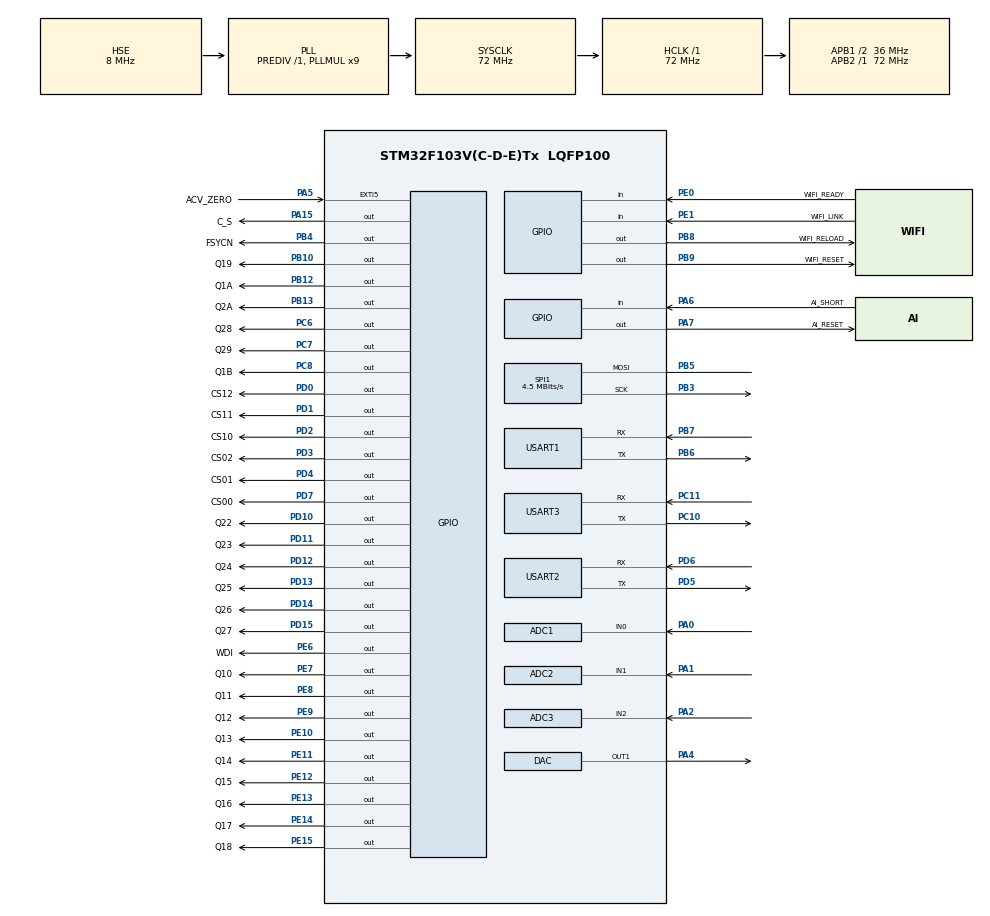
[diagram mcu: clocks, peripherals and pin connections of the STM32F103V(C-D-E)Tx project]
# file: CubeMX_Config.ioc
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ADC1.Channel-0\#ChannelRegularConversion=ADC_CHANNEL_0
ADC1.ContinuousConvMode=DISABLE
ADC1.ExternalTrigConv=ADC_EXTERNALTRIGCONV_T8_TRGO
ADC1.Mode=__NULL
ADC1.NbrOfConversion=1
ADC1.NbrOfConversionFlag=1
ADC1.Rank-0\#ChannelRegularConversion=1
ADC1.SamplingTime-0\#ChannelRegularConversion=ADC_SAMPLETIME_7CYCLES_5
ADC1.master=1
ADC2.Channel-2\#ChannelRegularConversion=ADC_CHANNEL_1
ADC2.ExternalTrigConv=ADC_EXTERNALTRIGCONV_T8_TRGO
ADC2.NbrOfConversionFlag=1
ADC2.Rank-2\#ChannelRegularConversion=1
ADC2.SamplingTime-2\#ChannelRegularConversion=ADC_SAMPLETIME_7CYCLES_5
ADC3.Channel-0\#ChannelRegularConversion=ADC_CHANNEL_2
ADC3.ExternalTrigConv=ADC_EXTERNALTRIGCONV_T8_TRGO
ADC3.NbrOfConversionFlag=1
ADC3.Rank-0\#ChannelRegularConversion=1
ADC3.SamplingTime-0\#ChannelRegularConversion=ADC_SAMPLETIME_7CYCLES_5
DAC.DAC_Trigger=DAC_TRIGGER_NONE
Dma.ADC1.4.Direction=DMA_PERIPH_TO_MEMORY
Dma.ADC1.4.Instance=DMA1_Channel1
Dma.ADC1.4.MemDataAlignment=DMA_MDATAALIGN_WORD
Dma.ADC1.4.MemInc=DMA_MINC_ENABLE
Dma.ADC1.4.Mode=DMA_NORMAL
Dma.ADC1.4.PeriphDataAlignment=DMA_PDATAALIGN_WORD
Dma.ADC1.4.PeriphInc=DMA_PINC_DISABLE
Dma.ADC1.4.Priority=DMA_PRIORITY_HIGH
Dma.ADC3.5.Direction=DMA_PERIPH_TO_MEMORY
Dma.ADC3.5.Instance=DMA2_Channel5
Dma.ADC3.5.MemDataAlignment=DMA_MDATAALIGN_WORD
Dma.ADC3.5.MemInc=DMA_MINC_ENABLE
Dma.ADC3.5.Mode=DMA_NORMAL
Dma.ADC3.5.PeriphDataAlignment=DMA_PDATAALIGN_WORD
Dma.ADC3.5.PeriphInc=DMA_PINC_DISABLE
Dma.ADC3.5.Priority=DMA_PRIORITY_HIGH
Dma.Request0=USART1_RX
Dma.Request1=USART1_TX
Dma.Request2=USART2_RX
Dma.Request3=USART2_TX
Dma.Request4=ADC1
Dma.Request5=ADC3
Dma.USART1_RX.0.Direction=DMA_PERIPH_TO_MEMORY
Dma.USART1_RX.0.Instance=DMA1_Channel5
Dma.USART1_RX.0.MemDataAlignment=DMA_MDATAALIGN_BYTE
Dma.USART1_RX.0.MemInc=DMA_MINC_ENABLE
Dma.USART1_RX.0.Mode=DMA_NORMAL
Dma.USART1_RX.0.PeriphDataAlignment=DMA_PDATAALIGN_BYTE
Dma.USART1_RX.0.PeriphInc=DMA_PINC_DISABLE
Dma.USART1_RX.0.Priority=DMA_PRIORITY_LOW
Dma.USART1_TX.1.Direction=DMA_MEMORY_TO_PERIPH
Dma.USART1_TX.1.Instance=DMA1_Channel4
Dma.USART1_TX.1.MemDataAlignment=DMA_MDATAALIGN_BYTE
Dma.USART1_TX.1.MemInc=DMA_MINC_ENABLE
Dma.USART1_TX.1.Mode=DMA_NORMAL
Dma.USART1_TX.1.PeriphDataAlignment=DMA_PDATAALIGN_BYTE
Dma.USART1_TX.1.PeriphInc=DMA_PINC_DISABLE
Dma.USART1_TX.1.Priority=DMA_PRIORITY_LOW
Dma.USART2_RX.2.Direction=DMA_PERIPH_TO_MEMORY
Dma.USART2_RX.2.Instance=DMA1_Channel6
Dma.USART2_RX.2.MemDataAlignment=DMA_MDATAALIGN_BYTE
Dma.USART2_RX.2.MemInc=DMA_MINC_ENABLE
Dma.USART2_RX.2.Mode=DMA_NORMAL
Dma.USART2_RX.2.PeriphDataAlignment=DMA_PDATAALIGN_BYTE
Dma.USART2_RX.2.PeriphInc=DMA_PINC_DISABLE
Dma.USART2_RX.2.Priority=DMA_PRIORITY_LOW
Dma.USART2_TX.3.Direction=DMA_MEMORY_TO_PERIPH
Dma.USART2_TX.3.Instance=DMA1_Channel7
Dma.USART2_TX.3.MemDataAlignment=DMA_MDATAALIGN_BYTE
Dma.USART2_TX.3.MemInc=DMA_MINC_ENABLE
Dma.USART2_TX.3.Mode=DMA_NORMAL
Dma.USART2_TX.3.PeriphDataAlignment=DMA_PDATAALIGN_BYTE
Dma.USART2_TX.3.PeriphInc=DMA_PINC_DISABLE
Dma.USART2_TX.3.Priority=DMA_PRIORITY_LOW
Mcu.Family=STM32F1
Mcu.Name=STM32F103V(C-D-E)Tx
Mcu.Package=LQFP100
NVIC.DMA1_Channel1_IRQn=true\:0\:0\:false\:false\:true\:false\:true\:true
NVIC.DMA1_Channel4_IRQn=true\:0\:0\:false\:false\:true\:false\:true\:true
NVIC.DMA1_Channel5_IRQn=true\:0\:0\:false\:false\:true\:false\:true\:true
NVIC.DMA1_Channel6_IRQn=true\:0\:0\:false\:false\:true\:false\:true\:true
NVIC.DMA1_Channel7_IRQn=true\:0\:0\:false\:false\:true\:false\:true\:true
NVIC.DMA2_Channel4_5_IRQn=true\:0\:0\:false\:false\:true\:false\:true\:true
NVIC.PriorityGroup=NVIC_PRIORITYGROUP_4
NVIC.USART1_IRQn=true\:0\:0\:false\:false\:true\:true\:true\:true
NVIC.USART2_IRQn=true\:0\:0\:false\:false\:true\:true\:true\:true
NVIC.USART3_IRQn=true\:0\:0\:false\:false\:true\:true\:true\:true
OSC_IN.Mode=HSE-External-Oscillator
OSC_IN.Signal=RCC_OSC_IN
OSC_OUT.Mode=HSE-External-Oscillator
OSC_OUT.Signal=RCC_OSC_OUT
PA0-WKUP.Signal=ADCx_IN0
PA1.Signal=ADCx_IN1
PA13.Mode=Serial_Wire
PA13.Signal=SYS_JTMS-SWDIO
PA14.Mode=Serial_Wire
PA14.Signal=SYS_JTCK-SWCLK
PA15.GPIO_Label=C_S
PA15.GPIO_PuPd=GPIO_PULLUP
PA15.GPIO_Speed=GPIO_SPEED_FREQ_HIGH
PA15.PinState=GPIO_PIN_SET
PA15.Signal=GPIO_Output
PA2.Signal=ADCx_IN2
PA4.Signal=COMP_DAC1_group
PA5.GPIO_Label=ACV_ZERO
PA5.Signal=GPXTI5
PA6.GPIO_Label=AI_SHORT
PA6.Signal=GPIO_Input
PA7.GPIO_Label=AI_RESET
PA7.GPIO_PuPd=GPIO_NOPULL
PA7.PinState=GPIO_PIN_SET
PA7.Signal=GPIO_Output
PB10.GPIO_Label=Q19
PB10.Signal=GPIO_Output
PB12.GPIO_Label=Q1A
PB12.Signal=GPIO_Output
PB13.GPIO_Label=Q2A
PB13.Signal=GPIO_Output
PB3.Mode=Simplex_Bidirectional_Master
PB3.Signal=SPI1_SCK
PB4.GPIO_Label=FSYCN
PB4.GPIO_PuPd=GPIO_PULLUP
PB4.GPIO_Speed=GPIO_SPEED_FREQ_HIGH
PB4.PinState=GPIO_PIN_SET
PB4.Signal=GPIO_Output
PB5.Mode=Simplex_Bidirectional_Master
PB5.Signal=SPI1_MOSI
PB6.Mode=Asynchronous
PB6.Signal=USART1_TX
PB7.Mode=Asynchronous
PB7.Signal=USART1_RX
PB8.GPIO_Label=WIFI_RELOAD
PB8.PinState=GPIO_PIN_SET
PB8.Signal=GPIO_Output
PB9.GPIO_Label=WIFI_RESET
PB9.PinState=GPIO_PIN_SET
PB9.Signal=GPIO_Output
PC10.Mode=Asynchronous
PC10.Signal=USART3_TX
PC11.Mode=Asynchronous
PC11.Signal=USART3_RX
PC14-OSC32_IN.Mode=LSE-External-Oscillator
PC14-OSC32_IN.Signal=RCC_OSC32_IN
PC15-OSC32_OUT.Mode=LSE-External-Oscillator
PC15-OSC32_OUT.Signal=RCC_OSC32_OUT
PC6.GPIO_Label=Q28
PC6.Signal=GPIO_Output
PC7.GPIO_Label=Q29
PC7.Signal=GPIO_Output
PC8.GPIO_Label=Q1B
PC8.Signal=GPIO_Output
PD0.GPIO_Label=CS12
PD0.GPIO_Speed=GPIO_SPEED_FREQ_HIGH
PD0.PinState=GPIO_PIN_RESET
PD0.Signal=GPIO_Output
PD1.GPIO_Label=CS11
PD1.GPIO_Speed=GPIO_SPEED_FREQ_HIGH
PD1.PinState=GPIO_PIN_RESET
PD1.Signal=GPIO_Output
PD10.GPIO_Label=Q22
PD10.Signal=GPIO_Output
PD11.GPIO_Label=Q23
PD11.Signal=GPIO_Output
PD12.GPIO_Label=Q24
PD12.Signal=GPIO_Output
PD13.GPIO_Label=Q25
PD13.Signal=GPIO_Output
PD14.GPIO_Label=Q26
PD14.Signal=GPIO_Output
PD15.GPIO_Label=Q27
PD15.Signal=GPIO_Output
PD2.GPIO_Label=CS10
PD2.GPIO_Speed=GPIO_SPEED_FREQ_HIGH
PD2.PinState=GPIO_PIN_RESET
PD2.Signal=GPIO_Output
PD3.GPIO_Label=CS02
PD3.GPIO_Speed=GPIO_SPEED_FREQ_HIGH
PD3.PinState=GPIO_PIN_RESET
PD3.Signal=GPIO_Output
PD4.GPIO_Label=CS01
PD4.GPIO_Speed=GPIO_SPEED_FREQ_HIGH
PD4.PinState=GPIO_PIN_RESET
PD4.Signal=GPIO_Output
PD5.Mode=Asynchronous
PD5.Signal=USART2_TX
PD6.Mode=Asynchronous
PD6.Signal=USART2_RX
PD7.GPIO_Label=CS00
PD7.GPIO_Speed=GPIO_SPEED_FREQ_HIGH
PD7.PinState=GPIO_PIN_RESET
PD7.Signal=GPIO_Output
PE0.GPIO_Label=WIFI_READY
PE0.Signal=GPIO_Input
PE1.GPIO_Label=WIFI_LINK
PE1.Signal=GPIO_Input
PE10.GPIO_Label=Q13
PE10.Signal=GPIO_Output
PE11.GPIO_Label=Q14
PE11.Signal=GPIO_Output
PE12.GPIO_Label=Q15
PE12.Signal=GPIO_Output
PE13.GPIO_Label=Q16
PE13.Signal=GPIO_Output
PE14.GPIO_Label=Q17
PE14.Signal=GPIO_Output
PE15.GPIO_Label=Q18
PE15.Signal=GPIO_Output
PE6.GPIO_Label=WDI
PE6.Signal=GPIO_Output
PE7.GPIO_Label=Q10
PE7.Signal=GPIO_Output
PE8.GPIO_Label=Q11
PE8.Signal=GPIO_Output
PE9.GPIO_Label=Q12
PE9.Signal=GPIO_Output
ProjectManager.HeapSize=0x000
ProjectManager.StackSize=0x800
ProjectManager.TargetToolchain=MDK-ARM V5.27
RCC.ADCPresc=RCC_ADCPCLK2_DIV6
RCC.AHBFreq_Value=72000000
RCC.APB1CLKDivider=RCC_HCLK_DIV2
RCC.APB1Freq_Value=36000000
RCC.APB1TimFreq_Value=72000000
RCC.APB2Freq_Value=72000000
RCC.APB2TimFreq_Value=72000000
RCC.HCLKFreq_Value=72000000
RCC.PLLMUL=RCC_PLL_MUL9
RCC.PLLSourceVirtual=RCC_PLLSOURCE_HSE
RCC.SYSCLKFreq_VALUE=72000000
RCC.SYSCLKSource=RCC_SYSCLKSOURCE_PLLCLK
RCC.USBFreq_Value=72000000
SH.ADCx_IN0.0=ADC1_IN0,IN0
SH.ADCx_IN1.0=ADC2_IN1,IN1
SH.ADCx_IN2.0=ADC3_IN2,IN2
SH.COMP_DAC1_group.0=DAC_OUT1,DAC_OUT1
SPI1.BaudRatePrescaler=SPI_BAUDRATEPRESCALER_16
SPI1.CLKPolarity=SPI_POLARITY_HIGH
SPI1.CRCCalculation=SPI_CRCCALCULATION_DISABLE
SPI1.CalculateBaudRate=4.5 MBits/s
SPI1.DataSize=SPI_DATASIZE_16BIT
SPI1.Direction=SPI_DIRECTION_1LINE
SPI1.Mode=SPI_MODE_MASTER
SPI1.VirtualType=VM_MASTER
TIM8.AutoReloadPreload=TIM_AUTORELOAD_PRELOAD_ENABLE
TIM8.Period=720-1
TIM8.Prescaler=0
TIM8.TIM_MasterOutputTrigger=TIM_TRGO_UPDATE
USART1.VirtualMode=VM_ASYNC
USART2.VirtualMode=VM_ASYNC
USART3.VirtualMode=VM_ASYNC
VP_TIM8_VS_ClockSourceINT.Mode=Internal
board=custom

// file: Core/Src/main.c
/* USER CODE BEGIN Header */
/**
 ******************************************************************************
 * @file           : main.c
 * @brief          : Main program body
 ******************************************************************************
 * @attention
 *
 * Copyright (c) 2022 STMicroelectronics.
 * All rights reserved.
 *
 * This software is licensed under terms that can be found in the LICENSE file
 * in the root directory of this software component.
 * If no LICENSE file comes with this software, it is provided AS-IS.
 *
 ******************************************************************************
 */
/* USER CODE END Header */
#include "main.h"

/* USER CODE BEGIN Includes */
#include <rtthread.h>
/* USER CODE END Includes */

 ADC_HandleTypeDef hadc1;
ADC_HandleTypeDef hadc2;
ADC_HandleTypeDef hadc3;
DMA_HandleTypeDef hdma_adc1;
DMA_HandleTypeDef hdma_adc3;

DAC_HandleTypeDef hdac;

SPI_HandleTypeDef hspi1;

TIM_HandleTypeDef htim8;

UART_HandleTypeDef huart1;
UART_HandleTypeDef huart2;
UART_HandleTypeDef huart3;
DMA_HandleTypeDef hdma_usart1_rx;
DMA_HandleTypeDef hdma_usart1_tx;
DMA_HandleTypeDef hdma_usart2_rx;
DMA_HandleTypeDef hdma_usart2_tx;

void SystemClock_Config(void);
static void MX_GPIO_Init(void);
static void MX_DMA_Init(void);
static void MX_USART1_UART_Init(void);
static void MX_USART2_UART_Init(void);
static void MX_USART3_UART_Init(void);
static void MX_ADC1_Init(void);
static void MX_SPI1_Init(void);
static void MX_ADC2_Init(void);
static void MX_ADC3_Init(void);
static void MX_TIM8_Init(void);
static void MX_DAC_Init(void);

/* USER CODE BEGIN 0 */
static int rt_stm32_hal_init(void)
{
  HAL_Init();
  MX_GPIO_Init();
  MX_DMA_Init();
  MX_USART1_UART_Init();
  MX_USART2_UART_Init();
  MX_USART3_UART_Init();
  MX_TIM8_Init();
  MX_ADC1_Init();
  MX_ADC2_Init();
  MX_ADC3_Init();
  MX_DAC_Init();
  MX_SPI1_Init();

  HAL_ADCEx_Calibration_Start(&hadc1);
  HAL_ADCEx_Calibration_Start(&hadc2);
  HAL_ADCEx_Calibration_Start(&hadc3);
  HAL_DAC_SetValue(&hdac, DAC_CHANNEL_1, DAC_ALIGN_12B_R, 2048 - 1); // 输出基准电压1.65v
  HAL_DAC_Start(&hdac, DAC_CHANNEL_1);
  /*启动时复位一下wifi*/
  // HAL_GPIO_WritePin(WIFI_RESET_GPIO_Port, WIFI_RESET_Pin, GPIO_PIN_RESET);
  // HAL_Delay(100);
  // HAL_GPIO_WritePin(WIFI_RESET_GPIO_Port, WIFI_RESET_Pin, GPIO_PIN_SET);
  return 0;
}
/*在内核对象中初始�????????????:https://blog.csdn.net/yang1111111112/article/details/93982354*/
// INIT_COMPONENT_EXPORT(rt_stm32_hal_init);
// INIT_ENV_EXPORT(rt_stm32_hal_init);
INIT_DEVICE_EXPORT(rt_stm32_hal_init);
/* USER CODE END 0 */

void SystemClock_Config(void)
{
  RCC_OscInitTypeDef RCC_OscInitStruct = {0};
  RCC_ClkInitTypeDef RCC_ClkInitStruct = {0};
  RCC_PeriphCLKInitTypeDef PeriphClkInit = {0};

  /** Initializes the RCC Oscillators according to the specified parameters
  * in the RCC_OscInitTypeDef structure.
  */
  RCC_OscInitStruct.OscillatorType = RCC_OSCILLATORTYPE_HSE;
  RCC_OscInitStruct.HSEState = RCC_HSE_ON;
  RCC_OscInitStruct.HSEPredivValue = RCC_HSE_PREDIV_DIV1;
  RCC_OscInitStruct.HSIState = RCC_HSI_ON;
  RCC_OscInitStruct.PLL.PLLState = RCC_PLL_ON;
  RCC_OscInitStruct.PLL.PLLSource = RCC_PLLSOURCE_HSE;
  RCC_OscInitStruct.PLL.PLLMUL = RCC_PLL_MUL9;
  if (HAL_RCC_OscConfig(&RCC_OscInitStruct) != HAL_OK)
  {
    Error_Handler();
  }

  /** Initializes the CPU, AHB and APB buses clocks
  */
  RCC_ClkInitStruct.ClockType = RCC_CLOCKTYPE_HCLK|RCC_CLOCKTYPE_SYSCLK
                              |RCC_CLOCKTYPE_PCLK1|RCC_CLOCKTYPE_PCLK2;
  RCC_ClkInitStruct.SYSCLKSource = RCC_SYSCLKSOURCE_PLLCLK;
  RCC_ClkInitStruct.AHBCLKDivider = RCC_SYSCLK_DIV1;
  RCC_ClkInitStruct.APB1CLKDivider = RCC_HCLK_DIV2;
  RCC_ClkInitStruct.APB2CLKDivider = RCC_HCLK_DIV1;

  if (HAL_RCC_ClockConfig(&RCC_ClkInitStruct, FLASH_LATENCY_2) != HAL_OK)
  {
    Error_Handler();
  }
  PeriphClkInit.PeriphClockSelection = RCC_PERIPHCLK_ADC;
  PeriphClkInit.AdcClockSelection = RCC_ADCPCLK2_DIV6;
  if (HAL_RCCEx_PeriphCLKConfig(&PeriphClkInit) != HAL_OK)
  {
    Error_Handler();
  }
}

static void MX_ADC1_Init(void)
{

  ADC_ChannelConfTypeDef sConfig = {0};

  /** Common config
  */
  hadc1.Instance = ADC1;
  hadc1.Init.ScanConvMode = ADC_SCAN_DISABLE;
  hadc1.Init.ContinuousConvMode = DISABLE;
  hadc1.Init.DiscontinuousConvMode = DISABLE;
  hadc1.Init.ExternalTrigConv = ADC_EXTERNALTRIGCONV_T8_TRGO;
  hadc1.Init.DataAlign = ADC_DATAALIGN_RIGHT;
  hadc1.Init.NbrOfConversion = 1;
  if (HAL_ADC_Init(&hadc1) != HAL_OK)
  {
    Error_Handler();
  }

  /** Enable or disable the remapping of ADC1_ETRGREG:
  * ADC1 External Event regular conversion is connected to TIM8 TRG0
  */
  __HAL_AFIO_REMAP_ADC1_ETRGREG_ENABLE();

  /** Configure Regular Channel
  */
  sConfig.Channel = ADC_CHANNEL_0;
  sConfig.Rank = ADC_REGULAR_RANK_1;
  sConfig.SamplingTime = ADC_SAMPLETIME_7CYCLES_5;
  if (HAL_ADC_ConfigChannel(&hadc1, &sConfig) != HAL_OK)
  {
    Error_Handler();
  }

}

static void MX_ADC2_Init(void)
{

  ADC_ChannelConfTypeDef sConfig = {0};

  /** Common config
  */
  hadc2.Instance = ADC2;
  hadc2.Init.ScanConvMode = ADC_SCAN_DISABLE;
  hadc2.Init.ContinuousConvMode = DISABLE;
  hadc2.Init.DiscontinuousConvMode = DISABLE;
  hadc2.Init.ExternalTrigConv = ADC_EXTERNALTRIGCONV_T8_TRGO;
  hadc2.Init.DataAlign = ADC_DATAALIGN_RIGHT;
  hadc2.Init.NbrOfConversion = 1;
  if (HAL_ADC_Init(&hadc2) != HAL_OK)
  {
    Error_Handler();
  }

  /** Enable the remapping of ADC1_ETRGREG:
  * ADC2 External Event regular conversion is connected to TIM8 TRG0.
  */
  __HAL_AFIO_REMAP_ADC2_ETRGREG_ENABLE();

  /** Configure Regular Channel
  */
  sConfig.Channel = ADC_CHANNEL_1;
  sConfig.Rank = ADC_REGULAR_RANK_1;
  sConfig.SamplingTime = ADC_SAMPLETIME_7CYCLES_5;
  if (HAL_ADC_ConfigChannel(&hadc2, &sConfig) != HAL_OK)
  {
    Error_Handler();
  }

}

static void MX_ADC3_Init(void)
{

  ADC_ChannelConfTypeDef sConfig = {0};

  /** Common config
  */
  hadc3.Instance = ADC3;
  hadc3.Init.ScanConvMode = ADC_SCAN_DISABLE;
  hadc3.Init.ContinuousConvMode = DISABLE;
  hadc3.Init.DiscontinuousConvMode = DISABLE;
  hadc3.Init.ExternalTrigConv = ADC_EXTERNALTRIGCONV_T8_TRGO;
  hadc3.Init.DataAlign = ADC_DATAALIGN_RIGHT;
  hadc3.Init.NbrOfConversion = 1;
  if (HAL_ADC_Init(&hadc3) != HAL_OK)
  {
    Error_Handler();
  }

  /** Configure Regular Channel
  */
  sConfig.Channel = ADC_CHANNEL_2;
  sConfig.Rank = ADC_REGULAR_RANK_1;
  sConfig.SamplingTime = ADC_SAMPLETIME_7CYCLES_5;
  if (HAL_ADC_ConfigChannel(&hadc3, &sConfig) != HAL_OK)
  {
    Error_Handler();
  }

}

static void MX_DAC_Init(void)
{

  DAC_ChannelConfTypeDef sConfig = {0};

  /** DAC Initialization
  */
  hdac.Instance = DAC;
  if (HAL_DAC_Init(&hdac) != HAL_OK)
  {
    Error_Handler();
  }

  /** DAC channel OUT1 config
  */
  sConfig.DAC_Trigger = DAC_TRIGGER_NONE;
  sConfig.DAC_OutputBuffer = DAC_OUTPUTBUFFER_ENABLE;
  if (HAL_DAC_ConfigChannel(&hdac, &sConfig, DAC_CHANNEL_1) != HAL_OK)
  {
    Error_Handler();
  }

}

static void MX_SPI1_Init(void)
{

  /* SPI1 parameter configuration*/
  hspi1.Instance = SPI1;
  hspi1.Init.Mode = SPI_MODE_MASTER;
  hspi1.Init.Direction = SPI_DIRECTION_1LINE;
  hspi1.Init.DataSize = SPI_DATASIZE_16BIT;
  hspi1.Init.CLKPolarity = SPI_POLARITY_HIGH;
  hspi1.Init.CLKPhase = SPI_PHASE_1EDGE;
  hspi1.Init.NSS = SPI_NSS_SOFT;
  hspi1.Init.BaudRatePrescaler = SPI_BAUDRATEPRESCALER_16;
  hspi1.Init.FirstBit = SPI_FIRSTBIT_MSB;
  hspi1.Init.TIMode = SPI_TIMODE_DISABLE;
  hspi1.Init.CRCCalculation = SPI_CRCCALCULATION_DISABLE;
  hspi1.Init.CRCPolynomial = 10;
  if (HAL_SPI_Init(&hspi1) != HAL_OK)
  {
    Error_Handler();
  }

}

static void MX_TIM8_Init(void)
{

  TIM_ClockConfigTypeDef sClockSourceConfig = {0};
  TIM_MasterConfigTypeDef sMasterConfig = {0};

  htim8.Instance = TIM8;
  htim8.Init.Prescaler = 0;
  htim8.Init.CounterMode = TIM_COUNTERMODE_UP;
  htim8.Init.Period = 720-1;
  htim8.Init.ClockDivision = TIM_CLOCKDIVISION_DIV1;
  htim8.Init.RepetitionCounter = 0;
  htim8.Init.AutoReloadPreload = TIM_AUTORELOAD_PRELOAD_ENABLE;
  if (HAL_TIM_Base_Init(&htim8) != HAL_OK)
  {
    Error_Handler();
  }
  sClockSourceConfig.ClockSource = TIM_CLOCKSOURCE_INTERNAL;
  if (HAL_TIM_ConfigClockSource(&htim8, &sClockSourceConfig) != HAL_OK)
  {
    Error_Handler();
  }
  sMasterConfig.MasterOutputTrigger = TIM_TRGO_UPDATE;
  sMasterConfig.MasterSlaveMode = TIM_MASTERSLAVEMODE_DISABLE;
  if (HAL_TIMEx_MasterConfigSynchronization(&htim8, &sMasterConfig) != HAL_OK)
  {
    Error_Handler();
  }

}

static void MX_USART1_UART_Init(void)
{

  huart1.Instance = USART1;
  huart1.Init.BaudRate = 115200;
  huart1.Init.WordLength = UART_WORDLENGTH_8B;
  huart1.Init.StopBits = UART_STOPBITS_1;
  huart1.Init.Parity = UART_PARITY_NONE;
  huart1.Init.Mode = UART_MODE_TX_RX;
  huart1.Init.HwFlowCtl = UART_HWCONTROL_NONE;
  huart1.Init.OverSampling = UART_OVERSAMPLING_16;
  if (HAL_UART_Init(&huart1) != HAL_OK)
  {
    Error_Handler();
  }

}

static void MX_USART2_UART_Init(void)
{

  huart2.Instance = USART2;
  huart2.Init.BaudRate = 115200;
  huart2.Init.WordLength = UART_WORDLENGTH_8B;
  huart2.Init.StopBits = UART_STOPBITS_1;
  huart2.Init.Parity = UART_PARITY_NONE;
  huart2.Init.Mode = UART_MODE_TX_RX;
  huart2.Init.HwFlowCtl = UART_HWCONTROL_NONE;
  huart2.Init.OverSampling = UART_OVERSAMPLING_16;
  if (HAL_UART_Init(&huart2) != HAL_OK)
  {
    Error_Handler();
  }

}

static void MX_USART3_UART_Init(void)
{

  huart3.Instance = USART3;
  huart3.Init.BaudRate = 115200;
  huart3.Init.WordLength = UART_WORDLENGTH_8B;
  huart3.Init.StopBits = UART_STOPBITS_1;
  huart3.Init.Parity = UART_PARITY_NONE;
  huart3.Init.Mode = UART_MODE_TX_RX;
  huart3.Init.HwFlowCtl = UART_HWCONTROL_NONE;
  huart3.Init.OverSampling = UART_OVERSAMPLING_16;
  if (HAL_UART_Init(&huart3) != HAL_OK)
  {
    Error_Handler();
  }

}

static void MX_DMA_Init(void)
{

  /* DMA controller clock enable */
  __HAL_RCC_DMA1_CLK_ENABLE();
  __HAL_RCC_DMA2_CLK_ENABLE();

  /* DMA interrupt init */
  /* DMA1_Channel1_IRQn interrupt configuration */
  HAL_NVIC_SetPriority(DMA1_Channel1_IRQn, 0, 0);
  HAL_NVIC_EnableIRQ(DMA1_Channel1_IRQn);
  /* DMA1_Channel4_IRQn interrupt configuration */
  HAL_NVIC_SetPriority(DMA1_Channel4_IRQn, 0, 0);
  HAL_NVIC_EnableIRQ(DMA1_Channel4_IRQn);
  /* DMA1_Channel5_IRQn interrupt configuration */
  HAL_NVIC_SetPriority(DMA1_Channel5_IRQn, 0, 0);
  HAL_NVIC_EnableIRQ(DMA1_Channel5_IRQn);
  /* DMA1_Channel6_IRQn interrupt configuration */
  HAL_NVIC_SetPriority(DMA1_Channel6_IRQn, 0, 0);
  HAL_NVIC_EnableIRQ(DMA1_Channel6_IRQn);
  /* DMA1_Channel7_IRQn interrupt configuration */
  HAL_NVIC_SetPriority(DMA1_Channel7_IRQn, 0, 0);
  HAL_NVIC_EnableIRQ(DMA1_Channel7_IRQn);
  /* DMA2_Channel4_5_IRQn interrupt configuration */
  HAL_NVIC_SetPriority(DMA2_Channel4_5_IRQn, 0, 0);
  HAL_NVIC_EnableIRQ(DMA2_Channel4_5_IRQn);

}

static void MX_GPIO_Init(void)
{
  GPIO_InitTypeDef GPIO_InitStruct = {0};

  /* GPIO Ports Clock Enable */
  __HAL_RCC_GPIOE_CLK_ENABLE();
  __HAL_RCC_GPIOC_CLK_ENABLE();
  __HAL_RCC_GPIOA_CLK_ENABLE();
  __HAL_RCC_GPIOB_CLK_ENABLE();
  __HAL_RCC_GPIOD_CLK_ENABLE();

  /*Configure GPIO pin Output Level */
  HAL_GPIO_WritePin(GPIOE, WDI_Pin|Q10_Pin|Q11_Pin|Q12_Pin
                          |Q13_Pin|Q14_Pin|Q15_Pin|Q16_Pin
                          |Q17_Pin|Q18_Pin, GPIO_PIN_RESET);

  /*Configure GPIO pin Output Level */
  HAL_GPIO_WritePin(GPIOA, AI_RESET_Pin|C_S_Pin, GPIO_PIN_SET);

  /*Configure GPIO pin Output Level */
  HAL_GPIO_WritePin(GPIOB, Q19_Pin|Q1A_Pin|Q2A_Pin, GPIO_PIN_RESET);

  /*Configure GPIO pin Output Level */
  HAL_GPIO_WritePin(GPIOD, Q22_Pin|Q23_Pin|Q24_Pin|Q25_Pin
                          |Q26_Pin|Q27_Pin|CS12_Pin|CS11_Pin
                          |CS10_Pin|CS02_Pin|CS01_Pin|CS00_Pin, GPIO_PIN_RESET);

  /*Configure GPIO pin Output Level */
  HAL_GPIO_WritePin(GPIOC, Q28_Pin|Q29_Pin|Q1B_Pin, GPIO_PIN_RESET);

  /*Configure GPIO pin Output Level */
  HAL_GPIO_WritePin(GPIOB, FSYCN_Pin|WIFI_RELOAD_Pin|WIFI_RESET_Pin, GPIO_PIN_SET);

  /*Configure GPIO pins : WDI_Pin Q10_Pin Q11_Pin Q12_Pin
                           Q13_Pin Q14_Pin Q15_Pin Q16_Pin
                           Q17_Pin Q18_Pin */
  GPIO_InitStruct.Pin = WDI_Pin|Q10_Pin|Q11_Pin|Q12_Pin
                          |Q13_Pin|Q14_Pin|Q15_Pin|Q16_Pin
                          |Q17_Pin|Q18_Pin;
  GPIO_InitStruct.Mode = GPIO_MODE_OUTPUT_PP;
  GPIO_InitStruct.Pull = GPIO_NOPULL;
  GPIO_InitStruct.Speed = GPIO_SPEED_FREQ_LOW;
  HAL_GPIO_Init(GPIOE, &GPIO_InitStruct);

  /*Configure GPIO pin : ACV_ZERO_Pin */
  GPIO_InitStruct.Pin = ACV_ZERO_Pin;
  GPIO_InitStruct.Mode = GPIO_MODE_IT_RISING;
  GPIO_InitStruct.Pull = GPIO_NOPULL;
  HAL_GPIO_Init(ACV_ZERO_GPIO_Port, &GPIO_InitStruct);

  /*Configure GPIO pin : AI_SHORT_Pin */
  GPIO_InitStruct.Pin = AI_SHORT_Pin;
  GPIO_InitStruct.Mode = GPIO_MODE_INPUT;
  GPIO_InitStruct.Pull = GPIO_NOPULL;
  HAL_GPIO_Init(AI_SHORT_GPIO_Port, &GPIO_InitStruct);

  /*Configure GPIO pin : AI_RESET_Pin */
  GPIO_InitStruct.Pin = AI_RESET_Pin;
  GPIO_InitStruct.Mode = GPIO_MODE_OUTPUT_PP;
  GPIO_InitStruct.Pull = GPIO_NOPULL;
  GPIO_InitStruct.Speed = GPIO_SPEED_FREQ_LOW;
  HAL_GPIO_Init(AI_RESET_GPIO_Port, &GPIO_InitStruct);

  /*Configure GPIO pins : Q19_Pin Q1A_Pin Q2A_Pin WIFI_RELOAD_Pin
                           WIFI_RESET_Pin */
  GPIO_InitStruct.Pin = Q19_Pin|Q1A_Pin|Q2A_Pin|WIFI_RELOAD_Pin
                          |WIFI_RESET_Pin;
  GPIO_InitStruct.Mode = GPIO_MODE_OUTPUT_PP;
  GPIO_InitStruct.Pull = GPIO_NOPULL;
  GPIO_InitStruct.Speed = GPIO_SPEED_FREQ_LOW;
  HAL_GPIO_Init(GPIOB, &GPIO_InitStruct);

  /*Configure GPIO pins : Q22_Pin Q23_Pin Q24_Pin Q25_Pin
                           Q26_Pin Q27_Pin */
  GPIO_InitStruct.Pin = Q22_Pin|Q23_Pin|Q24_Pin|Q25_Pin
                          |Q26_Pin|Q27_Pin;
  GPIO_InitStruct.Mode = GPIO_MODE_OUTPUT_PP;
  GPIO_InitStruct.Pull = GPIO_NOPULL;
  GPIO_InitStruct.Speed = GPIO_SPEED_FREQ_LOW;
  HAL_GPIO_Init(GPIOD, &GPIO_InitStruct);

  /*Configure GPIO pins : Q28_Pin Q29_Pin Q1B_Pin */
  GPIO_InitStruct.Pin = Q28_Pin|Q29_Pin|Q1B_Pin;
  GPIO_InitStruct.Mode = GPIO_MODE_OUTPUT_PP;
  GPIO_InitStruct.Pull = GPIO_NOPULL;
  GPIO_InitStruct.Speed = GPIO_SPEED_FREQ_LOW;
  HAL_GPIO_Init(GPIOC, &GPIO_InitStruct);

  /*Configure GPIO pin : C_S_Pin */
  GPIO_InitStruct.Pin = C_S_Pin;
  GPIO_InitStruct.Mode = GPIO_MODE_OUTPUT_PP;
  GPIO_InitStruct.Pull = GPIO_PULLUP;
  GPIO_InitStruct.Speed = GPIO_SPEED_FREQ_HIGH;
  HAL_GPIO_Init(C_S_GPIO_Port, &GPIO_InitStruct);

  /*Configure GPIO pins : CS12_Pin CS11_Pin CS10_Pin CS02_Pin
                           CS01_Pin CS00_Pin */
  GPIO_InitStruct.Pin = CS12_Pin|CS11_Pin|CS10_Pin|CS02_Pin
                          |CS01_Pin|CS00_Pin;
  GPIO_InitStruct.Mode = GPIO_MODE_OUTPUT_PP;
  GPIO_InitStruct.Pull = GPIO_NOPULL;
  GPIO_InitStruct.Speed = GPIO_SPEED_FREQ_HIGH;
  HAL_GPIO_Init(GPIOD, &GPIO_InitStruct);

  /*Configure GPIO pin : FSYCN_Pin */
  GPIO_InitStruct.Pin = FSYCN_Pin;
  GPIO_InitStruct.Mode = GPIO_MODE_OUTPUT_PP;
  GPIO_InitStruct.Pull = GPIO_PULLUP;
  GPIO_InitStruct.Speed = GPIO_SPEED_FREQ_HIGH;
  HAL_GPIO_Init(FSYCN_GPIO_Port, &GPIO_InitStruct);

  /*Configure GPIO pins : WIFI_READY_Pin WIFI_LINK_Pin */
  GPIO_InitStruct.Pin = WIFI_READY_Pin|WIFI_LINK_Pin;
  GPIO_InitStruct.Mode = GPIO_MODE_INPUT;
  GPIO_InitStruct.Pull = GPIO_NOPULL;
  HAL_GPIO_Init(GPIOE, &GPIO_InitStruct);

}

void Error_Handler(void)
{
  __disable_irq();
  while (1)
  {
  }
}
